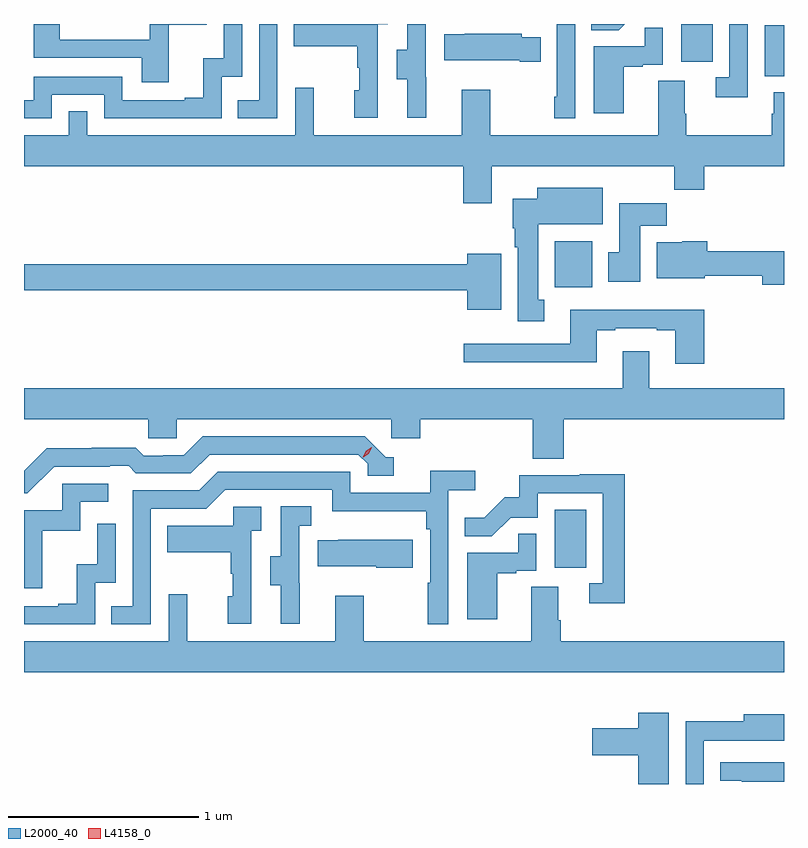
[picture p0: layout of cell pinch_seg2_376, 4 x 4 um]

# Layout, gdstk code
import gdstk
lib = gdstk.Library(unit=1e-6, precision=1e-09)
def R(c, l, rs):  # rectangles x0, y0, x1, y1
    for r in rs: c.add(gdstk.rectangle(r[:2], r[2:], *l))
def P(c, l, *ps):  # polygons
    for p in ps: c.add(gdstk.Polygon(p, *l))
L2000_40 = (2000, 40)
L4158_0 = (4158, 0)

pinch_seg2_376 = lib.new_cell('pinch_seg2_376')
R(pinch_seg2_376, L2000_40, [(987.428,604.23,987.592,604.537), (987.428,605.708,987.625,605.95), (988.532,606.818,988.634,607.087), (988.094,606.894,988.258,607.093)])
P(pinch_seg2_376, L2000_40, [(985.968,607.093),(985.872,607.093),(985.872,606.693),(985.759,606.693),(985.759,606.597),(985.968,606.597)],
  [(987.534,607.093),(987.438,607.093),(987.438,606.709),(987.426,606.709),(987.426,606.597),(987.534,606.597)],
  [(985.397,607.089),(985.596,607.089),(985.596,607.093),(985.295,607.093),(985.295,607.011),(984.821,607.011),(984.821,607.093),(984.684,607.093),(984.684,606.915),(985.253,606.915),(985.253,606.786),(985.397,606.786)],
  [(986.75,606.813),(986.748,606.813),(986.748,607.093),(986.652,607.093),(986.652,606.957),(986.597,606.957),(986.597,606.802),(986.651,606.802),(986.651,606.6),(986.75,606.6)],
  [(988.443,607.093),(988.347,607.093),(988.347,606.813),(988.275,606.813),(988.275,606.708),(988.443,606.708)],
  [(984.78,606.72),(985.056,606.72),(985.056,606.597),(985.674,606.597),(985.674,606.816),(985.782,606.816),(985.782,607.093),(985.686,607.093),(985.686,606.914),(985.577,606.914),(985.577,606.706),(985.481,606.706),(985.481,606.693),(985.152,606.693),(985.152,606.816),(984.684,606.816),(984.684,606.693),(984.634,606.693),(984.634,606.597),(984.78,606.597)],
  [(987.796,607.093),(987.619,607.093),(987.619,607.06),(987.763,607.06)],
  [(986.496,607.091),(986.548,607.091),(986.548,607.093),(986.053,607.093),(986.053,606.977),(986.388,606.977),(986.388,606.863),(986.398,606.863),(986.398,606.744),(986.372,606.744),(986.372,606.6),(986.496,606.6)],
  [(987.79,606.867),(987.89,606.867),(987.89,606.879),(987.996,606.879),(987.996,607.073),(987.901,607.073),(987.901,606.975),(987.632,606.975),(987.632,606.624),(987.79,606.624)],
  [(987.353,607.024),(987.255,607.024),(987.255,607.042),(986.953,607.042),(986.953,607.039),(986.845,607.039),(986.845,606.902),(987.242,606.902),(987.242,606.895),(987.353,606.895)],
  [(987.097,606.344),(988.057,606.344),(988.057,606.22),(988.214,606.22),(988.214,606.344),(988.634,606.344),(988.634,606.733),(988.58,606.733),(988.58,606.62),(988.569,606.62),(988.569,606.508),(988.119,606.508),(988.119,606.62),(988.111,606.62),(988.111,606.794),(987.971,606.794),(987.971,606.508),(987.087,606.508),(987.087,606.748),(986.939,606.748),(986.939,606.508),(986.159,606.508),(986.159,606.757),(986.061,606.757),(986.061,606.508),(984.966,606.508),(984.966,606.635),(984.87,606.635),(984.87,606.508),(984.634,606.508),(984.634,606.344),(986.945,606.344),(986.945,606.15),(987.097,606.15)],
  [(987.373,605.642),(987.34,605.642),(987.34,606.038),(987.679,606.038),(987.679,606.232),(987.335,606.232),(987.335,606.172),(987.206,606.172),(987.206,606.018),(987.218,606.018),(987.218,605.918),(987.233,605.918),(987.233,605.529),(987.373,605.529)],
  [(987.877,606.032),(988.016,606.032),(988.016,606.15),(987.767,606.15),(987.767,605.892),(987.71,605.892),(987.71,605.736),(987.877,605.736)],
  [(988.634,605.896),(988.229,605.896),(988.229,605.95),(988.098,605.95),(988.098,605.944),(987.965,605.944),(987.965,605.756),(988.216,605.756),(988.216,605.767),(988.52,605.767),(988.52,605.72),(988.634,605.72)],
  [(987.145,605.884),(986.966,605.884),(986.966,605.828),(984.634,605.828),(984.634,605.692),(986.966,605.692),(986.966,605.588),(987.145,605.588)],
  [(988.214,605.59),(987.509,605.59),(987.509,605.409),(986.949,605.409),(986.949,605.312),(987.649,605.312),(987.649,605.481),(987.745,605.481),(987.745,605.493),(987.965,605.493),(987.965,605.481),(988.061,605.481),(988.061,605.304),(988.214,605.304)],
  [(987.476,605.012),(988.634,605.012),(988.634,605.176),(987.925,605.176),(987.925,605.371),(987.785,605.371),(987.785,605.176),(984.634,605.176),(984.634,605.012),(985.287,605.012),(985.287,604.914),(985.437,604.914),(985.437,605.012),(986.568,605.012),(986.568,604.914),(986.72,604.914),(986.72,605.012),(987.311,605.012),(987.311,604.804),(987.476,604.804)],
  [(984.792,604.764),(985.085,604.764),(985.085,604.767),(985.184,604.767),(985.223,604.728),(985.512,604.728),(985.611,604.827),(986.394,604.827),(986.442,604.779),(986.442,604.716),(986.581,604.716),(986.581,604.812),(986.538,604.812),(986.427,604.923),(985.574,604.923),(985.475,604.824),(985.368,604.824),(985.368,604.821),(985.265,604.821),(985.223,604.864),(984.99,604.864),(984.99,604.861),(984.754,604.861),(984.634,604.741),(984.634,604.623),(984.651,604.623)],
  [(985.302,604.542),(985.593,604.542),(985.692,604.641),(986.256,604.641),(986.256,604.529),(986.752,604.529),(986.752,604.433),(986.772,604.433),(986.772,604.151),(986.76,604.151),(986.76,603.933),(986.868,603.933),(986.868,604.64),(987.01,604.64),(987.01,604.742),(986.771,604.742),(986.771,604.626),(986.352,604.626),(986.352,604.737),(985.655,604.737),(985.556,604.638),(985.206,604.638),(985.206,604.029),(985.093,604.029),(985.093,603.933),(985.302,603.933)],
  [(987.797,604.724),(987.559,604.724),(987.559,604.719),(987.241,604.719),(987.241,604.602),(987.164,604.602),(987.057,604.495),(986.953,604.495),(986.953,604.396),(987.097,604.396),(987.195,604.494),(987.339,604.494),(987.339,604.623),(987.681,604.623),(987.681,604.149),(987.609,604.149),(987.609,604.044),(987.797,604.044)],
  [(984.731,604.425),(984.93,604.425),(984.93,604.578),(985.078,604.578),(985.078,604.674),(984.834,604.674),(984.834,604.533),(984.634,604.533),(984.634,604.122),(984.731,604.122)],
  [(986.084,604.149),(986.082,604.149),(986.082,604.453),(986.146,604.453),(986.146,604.556),(985.986,604.556),(985.986,604.293),(985.931,604.293),(985.931,604.138),(985.985,604.138),(985.985,603.936),(986.084,603.936)],
  [(985.83,604.427),(985.882,604.427),(985.882,604.551),(985.734,604.551),(985.734,604.453),(985.387,604.453),(985.387,604.313),(985.722,604.313),(985.722,604.199),(985.732,604.199),(985.732,604.08),(985.706,604.08),(985.706,603.936),(985.83,603.936)],
  [(985.008,604.152),(985.116,604.152),(985.116,604.462),(985.02,604.462),(985.02,604.25),(984.911,604.25),(984.911,604.042),(984.815,604.042),(984.815,604.029),(984.634,604.029),(984.634,603.933),(985.008,603.933)],
  [(987.124,604.203),(987.224,604.203),(987.224,604.215),(987.33,604.215),(987.33,604.409),(987.235,604.409),(987.235,604.311),(986.966,604.311),(986.966,603.96),(987.124,603.96)],
  [(986.68,604.378),(986.287,604.378),(986.287,604.375),(986.179,604.375),(986.179,604.238),(986.489,604.238),(986.489,604.231),(986.68,604.231)],
  [(988.634,603.844),(987.458,603.844),(987.458,603.956),(987.445,603.956),(987.445,604.13),(987.305,604.13),(987.305,603.844),(986.421,603.844),(986.421,604.084),(986.273,604.084),(986.273,603.844),(985.493,603.844),(985.493,604.093),(985.395,604.093),(985.395,603.844),(984.634,603.844),(984.634,603.68),(988.634,603.68)],
  [(988.027,603.469),(987.866,603.469),(987.866,603.387),(987.624,603.387),(987.624,603.245),(987.866,603.245),(987.866,603.093),(988.027,603.093)],
  [(988.212,603.321),(988.525,603.321),(988.525,603.32),(988.634,603.32),(988.634,603.46),(988.421,603.46),(988.421,603.422),(988.116,603.422),(988.116,603.093),(988.212,603.093)],
  [(988.634,603.207),(988.299,603.207),(988.299,603.111),(988.411,603.111),(988.411,603.106),(988.634,603.106)])
P(pinch_seg2_376, L4158_0, [(986.418,604.813),(986.418,604.813),(986.434,604.846),(986.464,604.865),(986.465,604.865),(986.465,604.865),(986.449,604.832),(986.419,604.813)])

lib.write_gds('pinch_seg2_376.gds')
